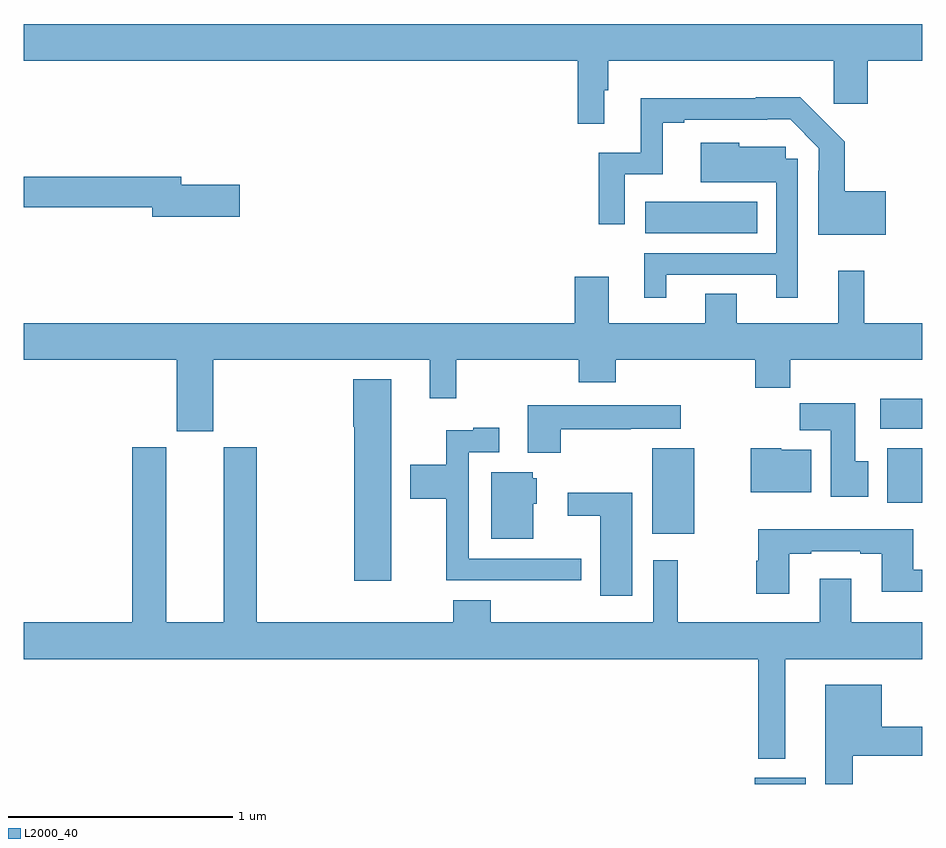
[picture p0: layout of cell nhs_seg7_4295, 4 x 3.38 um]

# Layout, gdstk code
import gdstk
lib = gdstk.Library(unit=1e-6, precision=1e-09)
def R(c, l, rs):  # rectangles x0, y0, x1, y1
    for r in rs: c.add(gdstk.rectangle(r[:2], r[2:], *l))
def P(c, l, *ps):  # polygons
    for p in ps: c.add(gdstk.Polygon(p, *l))
L2000_40 = (2000, 40)

nhs_seg7_4295 = lib.new_cell('nhs_seg7_4295')
R(nhs_seg7_4295, L2000_40, [(384.254,1060,384.481,1060.027), (383.798,1061.114,383.986,1061.494), (384.845,1061.252,385,1061.494), (384.813,1061.582,385,1061.716), (383.766,1062.452,384.266,1062.592)])
P(nhs_seg7_4295, L2000_40, [(383.584,1063.088),(383.603,1063.088),(383.603,1063.22),(384.607,1063.22),(384.607,1063.029),(384.758,1063.029),(384.758,1063.22),(385,1063.22),(385,1063.384),(381,1063.384),(381,1063.22),(383.467,1063.22),(383.467,1062.939),(383.584,1062.939)],
  [(384.838,1062.64),(384.656,1062.64),(384.656,1062.859),(384.458,1063.057),(384.259,1063.057),(384.259,1063.054),(383.747,1063.054),(383.747,1062.81),(383.56,1062.81),(383.56,1062.492),(383.676,1062.492),(383.676,1062.714),(383.845,1062.714),(383.845,1062.945),(383.941,1062.945),(383.941,1062.957),(384.311,1062.957),(384.311,1062.959),(384.412,1062.959),(384.54,1062.831),(384.54,1062.731),(384.537,1062.731),(384.537,1062.446),(384.838,1062.446)],
  [(383.86,1062.267),(384.35,1062.267),(384.35,1062.165),(384.447,1062.165),(384.447,1062.783),(384.393,1062.783),(384.393,1062.838),(384.186,1062.838),(384.186,1062.856),(384.014,1062.856),(384.014,1062.68),(384.351,1062.68),(384.351,1062.363),(383.762,1062.363),(383.762,1062.165),(383.86,1062.165)],
  [(381.961,1062.668),(381.7,1062.668),(381.7,1062.704),(381,1062.704),(381,1062.568),(381.572,1062.568),(381.572,1062.526),(381.961,1062.526)],
  [(381.844,1061.888),(382.808,1061.888),(382.808,1061.718),(382.925,1061.718),(382.925,1061.888),(383.471,1061.888),(383.471,1061.789),(383.636,1061.789),(383.636,1061.888),(384.257,1061.888),(384.257,1061.764),(384.413,1061.764),(384.413,1061.888),(385,1061.888),(385,1062.052),(384.743,1062.052),(384.743,1062.286),(384.626,1062.286),(384.626,1062.052),(384.175,1062.052),(384.175,1062.182),(384.035,1062.182),(384.035,1062.052),(383.605,1062.052),(383.605,1062.259),(383.453,1062.259),(383.453,1062.052),(381,1062.052),(381,1061.888),(381.68,1061.888),(381.68,1061.571),(381.844,1061.571)],
  [(382.636,1061.803),(382.466,1061.803),(382.466,1061.59),(382.471,1061.59),(382.471,1060.905),(382.636,1060.905)],
  [(384.76,1061.436),(384.703,1061.436),(384.703,1061.695),(384.454,1061.695),(384.454,1061.576),(384.593,1061.576),(384.593,1061.28),(384.76,1061.28)],
  [(383.391,1061.58),(383.702,1061.58),(383.702,1061.582),(383.926,1061.582),(383.926,1061.686),(383.243,1061.686),(383.243,1061.474),(383.391,1061.474)],
  [(383.482,1061.004),(382.98,1061.004),(382.98,1061.478),(383.116,1061.478),(383.116,1061.587),(383.002,1061.587),(383.002,1061.575),(382.882,1061.575),(382.882,1061.422),(382.721,1061.422),(382.721,1061.27),(382.882,1061.27),(382.882,1060.908),(383.161,1060.908),(383.161,1060.907),(383.482,1060.907)],
  [(384.391,1060.556),(385,1060.556),(385,1060.72),(384.685,1060.72),(384.685,1060.915),(384.545,1060.915),(384.545,1060.72),(383.911,1060.72),(383.911,1060.996),(383.802,1060.996),(383.802,1060.72),(383.078,1060.72),(383.078,1060.819),(382.913,1060.819),(382.913,1060.72),(382.038,1060.72),(382.038,1061.499),(381.89,1061.499),(381.89,1060.72),(381.634,1060.72),(381.634,1061.499),(381.482,1061.499),(381.482,1060.72),(381,1060.72),(381,1060.556),(384.27,1060.556),(384.27,1060.112),(384.391,1060.112)],
  [(384.505,1061.488),(384.372,1061.488),(384.372,1061.494),(384.236,1061.494),(384.236,1061.3),(384.505,1061.3)],
  [(383.269,1061.247),(383.284,1061.247),(383.284,1061.361),(383.265,1061.361),(383.265,1061.389),(383.081,1061.389),(383.081,1061.093),(383.269,1061.093)],
  [(383.71,1061.297),(383.421,1061.297),(383.421,1061.195),(383.567,1061.195),(383.567,1060.839),(383.71,1060.839)],
  [(384.409,1061.025),(384.505,1061.025),(384.505,1061.037),(384.725,1061.037),(384.725,1061.025),(384.821,1061.025),(384.821,1060.856),(385,1060.856),(385,1060.953),(384.961,1060.953),(384.961,1061.134),(384.269,1061.134),(384.269,1060.995),(384.262,1060.995),(384.262,1060.848),(384.409,1060.848)],
  [(384.691,1060.126),(385,1060.126),(385,1060.255),(384.82,1060.255),(384.82,1060.441),(384.569,1060.441),(384.569,1060),(384.691,1060)])

lib.write_gds('nhs_seg7_4295.gds')
